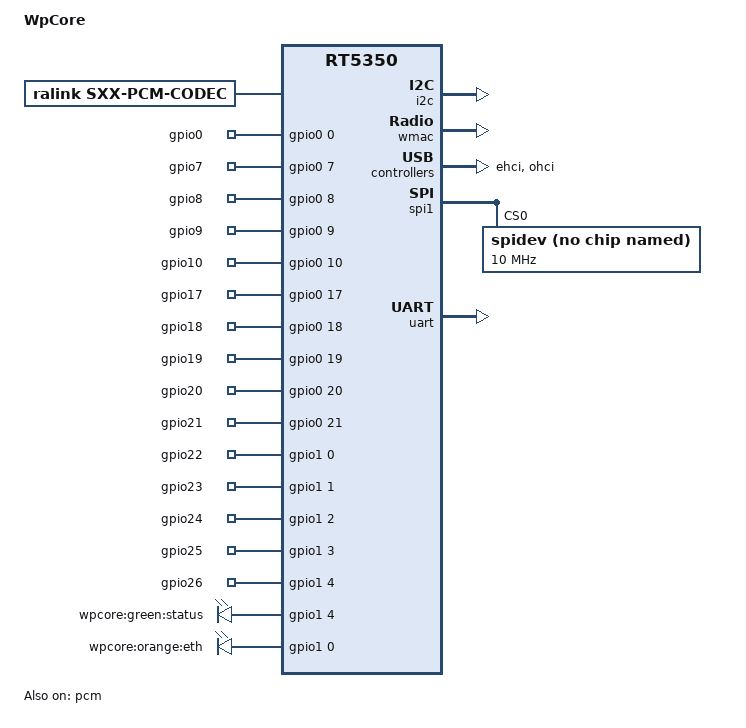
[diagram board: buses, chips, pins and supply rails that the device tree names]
#include "rt5350.dtsi"

/ {
	compatible = "WpCore", "ralink,rt5350-soc";
	model = "WpCore";

        codec: sxx-pcm-codec {
	    compatible = "ralink,sxx-pcm-codec";
        };
    
        sound: sxx-pcm-machine {
            compatible = "ralink,sxx-pcm-machine";
            model = "sxx-pcm-machine";
            cpu-dai = <&pcm>;
            codec-dai = <&codec>;
        };

	gpio-export {
		compatible = "gpio-export";
		#size-cells = <0>;

		gpio0 {
			gpio-export,name = "gpio0";
			gpio-export,direction_may_change = <1>;
			gpio-export,output = <1>;
			gpios = <&gpio0 0 0>;
		};

		/* UARTF */
		gpio7 {
			/* UARTF_RTS_N */
			gpio-export,name = "gpio7";
			gpio-export,direction_may_change = <1>;
			gpios = <&gpio0 7 0>;
		};

		gpio8 {
			/* UARTF_TXD */
			gpio-export,name = "gpio8";
			gpio-export,direction_may_change = <1>;
			gpio-export,output = <1>;
			gpios = <&gpio0 8 0>;
		};

		gpio9 {
			/* UARTF_CTS_N */
			gpio-export,name = "gpio9";
			gpio-export,direction_may_change = <1>;
			gpios = <&gpio0 9 0>;
		};
		gpio10 {
			/* UARTF_RXD */
			gpio-export,name = "gpio10";
			gpio-export,direction_may_change = <1>;
			gpios = <&gpio0 10 0>;
		};

		/* JTAG */
		gpio17 {
			/* JTAG_TDO */
			gpio-export,name = "gpio17";
			gpio-export,direction_may_change = <1>;
			gpio-export,output = <1>;
			gpios = <&gpio0 17 0>;
		};

		gpio18 {
			/* JTAG_TDI */
			gpio-export,name = "gpio18";
			gpio-export,direction_may_change = <1>;
			gpio-export,output = <1>;
			gpios = <&gpio0 18 0>;
		};

		gpio19 {
			/* JTAG_TMS */
			gpio-export,name = "gpio19";
			gpio-export,direction_may_change = <1>;
			gpio-export,output = <1>;
			gpios = <&gpio0 19 0>;
		};

		gpio20 {
			/* JTAG_TCLK */
			gpio-export,name = "gpio20";
			gpio-export,direction_may_change = <1>;
			gpio-export,output = <1>;
			gpios = <&gpio0 20 0>;
		};

		gpio21 {
			/* JTAG_TRST_N */
			gpio-export,name = "gpio21";
			gpio-export,direction_may_change = <1>;
			gpios = <&gpio0 21 0>;
		};

		/* ETH LEDs */
		gpio22 {
			/* ETH0_LED */
			gpio-export,name = "gpio22";
			gpio-export,direction_may_change = <1>;
			gpios = <&gpio1 0 0>;
		};

		gpio23 {
			/* ETH1_LED */
			gpio-export,name = "gpio23";
			gpio-export,direction_may_change = <1>;
			gpios = <&gpio1 1 0>;
		};

		gpio24 {
			/* ETH2_LED */
			gpio-export,name = "gpio24";
			gpio-export,direction_may_change = <1>;
			gpios = <&gpio1 2 0>;
		};

		gpio25 {
			/* ETH3_LED */
			gpio-export,name = "gpio25";
			gpio-export,direction_may_change = <1>;
			gpios = <&gpio1 3 0>;
		};

		gpio26 {
			/* ETH4_LED */
			gpio-export,name = "gpio26";
			gpio-export,direction_may_change = <1>;
			gpios = <&gpio1 4 0>;
		};
	};

	gpio-leds {
		compatible = "gpio-leds";

		status {
			/* GPIO26 */
			label = "wpcore:green:status";
			gpios = <&gpio1 4 0>;
		};

		eth {
			/* GPIO22 */
			label = "wpcore:orange:eth";
			gpios = <&gpio1 0 0>;
		};
	};
};

&gpio1 {
	status = "okay";
};

&i2c {
	status = "okay";
};

&pinctrl {
	state_default: pinctrl0 {
		gpio {
			ralink,group = "jtag", "i2c";
			ralink,function = "gpio";
		};
		uartf {
                	ralink,group = "uartf";
                	ralink,function = "pcm gpio";
            	};
		phy_led {
			ralink,group = "led";
			/*ralink,function = "led";*/
			ralink,function = "gpio";
		};
	};
};

&ethernet {
	mtd-mac-address = <&factory 0x4>;
};

&esw {
	mediatek,portmap = <0x11>;
	mediatek,portdisable = <0x2e>;
};

&wmac {
	ralink,mtd-eeprom = <&factory 0>;
};

&ehci {
	status = "okay";
};

&ohci {
	status = "okay";
};

&spi1 {
	status = "okay";

	spidev@0 {
		compatible = "linux,spidev";
		spi-max-frequency = <10000000>;
		reg = <0>;
	};
};


//------------------------------------------------------
&pcm {
	status = "okay";
};

&gdma {
	status = "okay";
};
		
&uart {
	/* uart to mcu */
	status = "okay";
};


